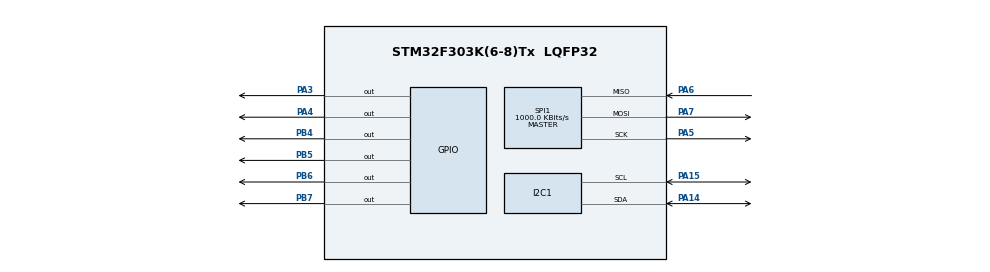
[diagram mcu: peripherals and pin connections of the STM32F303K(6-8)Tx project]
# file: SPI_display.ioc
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I2C1.OwnAddress=1
Mcu.Family=STM32F3
Mcu.Name=STM32F303K(6-8)Tx
Mcu.Package=LQFP32
NVIC.PriorityGroup=NVIC_PRIORITYGROUP_4
PA14.Mode=I2C
PA14.Signal=I2C1_SDA
PA15.Mode=I2C
PA15.Signal=I2C1_SCL
PA3.Signal=GPIO_Output
PA4.Signal=GPIO_Output
PA5.Mode=Full_Duplex_Master
PA5.Signal=SPI1_SCK
PA6.Mode=Full_Duplex_Master
PA6.Signal=SPI1_MISO
PA7.Mode=Full_Duplex_Master
PA7.Signal=SPI1_MOSI
PB4.Signal=GPIO_Output
PB5.Signal=GPIO_Output
PB6.Signal=GPIO_Output
PB7.Signal=GPIO_Output
ProjectManager.HeapSize=0x200
ProjectManager.StackSize=0x400
ProjectManager.TargetToolchain=STM32CubeIDE
RCC.AHBFreq_Value=8000000
RCC.APB1Freq_Value=8000000
RCC.APB2Freq_Value=8000000
RCC.CortexFreq_Value=8000000
RCC.HSE_VALUE=8000000
RCC.HSI_VALUE=8000000
RCC.SYSCLKFreq_VALUE=8000000
SPI1.BaudRatePrescaler=SPI_BAUDRATEPRESCALER_8
SPI1.CRCCalculation=SPI_CRCCALCULATION_DISABLE
SPI1.CalculateBaudRate=1000.0 KBits/s
SPI1.DataSize=SPI_DATASIZE_8BIT
SPI1.Direction=SPI_DIRECTION_2LINES
SPI1.Mode=SPI_MODE_MASTER
SPI1.NSSPMode=SPI_NSS_PULSE_DISABLE
SPI1.VirtualType=VM_MASTER
board=custom

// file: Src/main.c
/* USER CODE BEGIN Header */
/**
  ******************************************************************************
  * @file           : main.c
  * @brief          : Main program body
  ******************************************************************************
  * @attention
  *
  * <h2><center>&copy; Copyright (c) 2019 STMicroelectronics.
  * All rights reserved.</center></h2>
  *
  * This software component is licensed by ST under BSD 3-Clause license,
  * the "License"; You may not use this file except in compliance with the
  * License. You may obtain a copy of the License at:
  *                        opensource.org/licenses/BSD-3-Clause
  *
  ******************************************************************************
  */
/* USER CODE END Header */

#include "main.h"
#include "i2c.h"
#include "gpio.h"
#include "usart.h"
#include "lis3mdltr.h"
#include "lsm6ds0.h"
#include "stdio.h"
#include "string.h"
#include "dma.h"
#include "hts221.h"
#include "lps22hb.h"
#include <math.h>
#include "ili9163.h"
#include "spi.h"

void SystemClock_Config(void);

/* USER CODE BEGIN 0 */
uint8_t rx_data = 0;
/* USER CODE END 0 */

int main(void)
{

  /* MCU Configuration--------------------------------------------------------*/

  /* Reset of all peripherals, Initializes the Flash interface and the Systick. */

  LL_APB2_GRP1_EnableClock(LL_APB2_GRP1_PERIPH_SYSCFG);
  LL_APB1_GRP1_EnableClock(LL_APB1_GRP1_PERIPH_PWR);

  NVIC_SetPriorityGrouping(NVIC_PRIORITYGROUP_4);

  /* System interrupt init*/

  /* Configure the system clock */
  SystemClock_Config();

  /* Initialize all configured peripherals */
  MX_GPIO_Init();
  MX_SPI1_Init();
  MX_I2C1_Init();
  //MX_DMA_Init();
 // MX_USART2_UART_Init();
  /* USER CODE BEGIN 2 */

  lsm6ds0_init();
    hts221_init();
    lps22hb_init();
    lis3mdl_init();

  initCD_Pin();
   initCS_Pin();
   initRES_Pin();

   LL_mDelay(50);

   lcdInitialise(LCD_ORIENTATION3);
   lcdClearDisplay(decodeRgbValue(0, 0, 0));

   lcdPutS("VRS 2019", lcdTextX(2), lcdTextY(1), decodeRgbValue(0, 0, 0), decodeRgbValue(31, 31, 31));
   lcdPutS("Cvicenie 8", lcdTextX(2), lcdTextY(4), decodeRgbValue(255, 255, 255), decodeRgbValue(0, 0, 0));
   lcdPutS("SPI komunikacia", lcdTextX(2), lcdTextY(5), decodeRgbValue(255, 255, 255), decodeRgbValue(0, 0, 0));

   uint8_t state = 0;

  /* USER CODE END 2 */

  /* Infinite loop */
  /* USER CODE BEGIN WHILE */
  while (1)
  {

	  state ? lcdFilledRectangle(10, 75, 34, 99, decodeRgbValue(31, 0, 0)) : lcdFilledRectangle(10, 75, 34, 99, decodeRgbValue(0, 31, 0));
	  		state ^= 1;

	  		LL_mDelay(100);
    /* USER CODE END WHILE */

  }
}

void SystemClock_Config(void)
{
  LL_FLASH_SetLatency(LL_FLASH_LATENCY_0);

  if(LL_FLASH_GetLatency() != LL_FLASH_LATENCY_0)
  {
  Error_Handler();
  }
  LL_RCC_HSI_Enable();

   /* Wait till HSI is ready */
  while(LL_RCC_HSI_IsReady() != 1)
  {

  }
  LL_RCC_HSI_SetCalibTrimming(16);
  LL_RCC_SetAHBPrescaler(LL_RCC_SYSCLK_DIV_1);
  LL_RCC_SetAPB1Prescaler(LL_RCC_APB1_DIV_1);
  LL_RCC_SetAPB2Prescaler(LL_RCC_APB1_DIV_1);
  LL_RCC_SetSysClkSource(LL_RCC_SYS_CLKSOURCE_HSI);

   /* Wait till System clock is ready */
  while(LL_RCC_GetSysClkSource() != LL_RCC_SYS_CLKSOURCE_STATUS_HSI)
  {

  }
  LL_Init1msTick(8000000);
  LL_SYSTICK_SetClkSource(LL_SYSTICK_CLKSOURCE_HCLK);
  LL_SetSystemCoreClock(8000000);
  LL_RCC_SetI2CClockSource(LL_RCC_I2C1_CLKSOURCE_HSI);
}

void Error_Handler(void)
{
}

/************************ (C) COPYRIGHT STMicroelectronics *****END OF FILE****/
